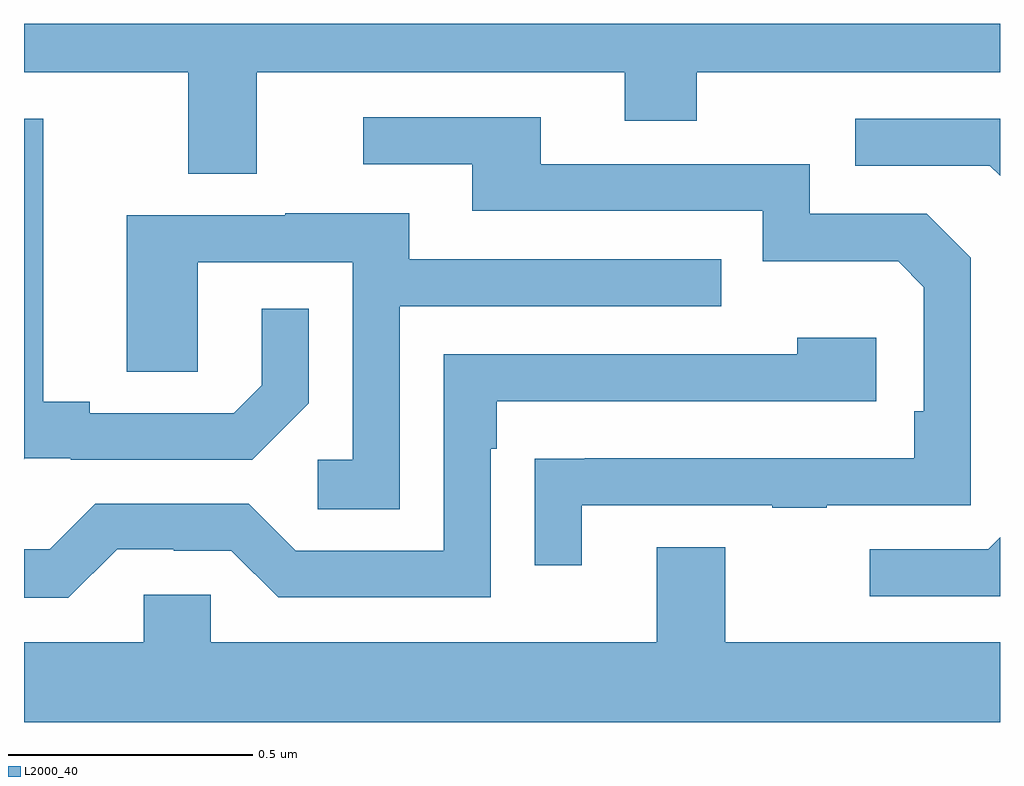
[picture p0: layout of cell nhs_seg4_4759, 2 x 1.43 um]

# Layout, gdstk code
import gdstk
lib = gdstk.Library(unit=1e-6, precision=1e-09)
def P(c, l, *ps):  # polygons
    for p in ps: c.add(gdstk.Polygon(p, *l))
L2000_40 = (2000, 40)

nhs_seg4_4759 = lib.new_cell('nhs_seg4_4759')
P(nhs_seg4_4759, L2000_40, [(169.477,816.8),(170.231,816.8),(170.231,816.701),(170.379,816.701),(170.379,816.8),(171,816.8),(171,816.9),(169,816.9),(169,816.8),(169.337,816.8),(169.337,816.592),(169.477,816.592)],
  [(170.143,815.913),(170.533,815.913),(170.533,815.908),(170.645,815.908),(170.645,815.913),(170.94,815.913),(170.94,816.42),(170.85,816.51),(170.61,816.51),(170.61,816.612),(170.059,816.612),(170.059,816.708),(169.695,816.708),(169.695,816.612),(169.919,816.612),(169.919,816.516),(170.514,816.516),(170.514,816.413),(170.791,816.413),(170.844,816.36),(170.844,816.106),(170.824,816.106),(170.824,816.009),(170.149,816.009),(170.149,816.008),(170.047,816.008),(170.047,815.79),(170.143,815.79)],
  [(171,816.705),(170.703,816.705),(170.703,816.609),(170.979,816.609),(171,816.588)],
  [(169.584,816.122),(169.584,816.316),(169.487,816.316),(169.487,816.159),(169.43,816.102),(169.135,816.102),(169.135,816.125),(169.039,816.125),(169.039,816.705),(169,816.705),(169,816.007),(169.002,816.009),(169.096,816.009),(169.096,816.006),(169.468,816.006)],
  [(169.77,816.321),(170.429,816.321),(170.429,816.417),(169.789,816.417),(169.789,816.511),(169.535,816.511),(169.535,816.507),(169.211,816.507),(169.211,816.187),(169.356,816.187),(169.356,816.411),(169.674,816.411),(169.674,816.006),(169.602,816.006),(169.602,815.905),(169.77,815.905)],
  [(169.191,815.823),(169.307,815.823),(169.307,815.82),(169.425,815.82),(169.521,815.724),(169.956,815.724),(169.956,816.029),(169.969,816.029),(169.969,816.126),(170.746,816.126),(170.746,816.256),(170.585,816.256),(170.585,816.222),(169.86,816.222),(169.86,815.82),(169.557,815.82),(169.461,815.916),(169.146,815.916),(169.053,815.823),(169,815.823),(169,815.723),(169.091,815.723)],
  [(171,815.847),(170.976,815.823),(170.733,815.823),(170.733,815.727),(171,815.727)],
  [(171,815.632),(170.437,815.632),(170.437,815.827),(170.297,815.827),(170.297,815.632),(169.383,815.632),(169.383,815.73),(169.245,815.73),(169.245,815.632),(169,815.632),(169,815.468),(171,815.468)])

lib.write_gds('nhs_seg4_4759.gds')
